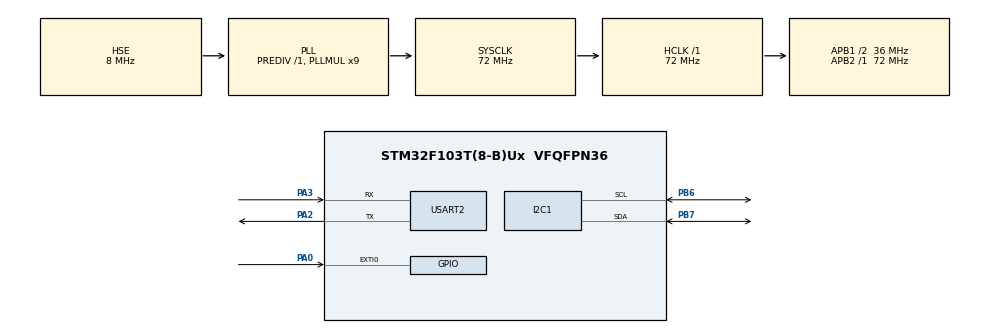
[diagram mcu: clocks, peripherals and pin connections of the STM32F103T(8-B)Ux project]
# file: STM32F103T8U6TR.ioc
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Mcu.Family=STM32F1
Mcu.Name=STM32F103T(8-B)Ux
Mcu.Package=VFQFPN36
NVIC.EXTI0_IRQn=true\:3\:0\:true\:false\:true\:true\:true\:true
NVIC.PriorityGroup=NVIC_PRIORITYGROUP_4
PA0-WKUP.Signal=GPXTI0
PA2.Mode=Asynchronous
PA2.Signal=USART2_TX
PA3.Mode=Asynchronous
PA3.Signal=USART2_RX
PB6.Mode=I2C
PB6.Signal=I2C1_SCL
PB7.Mode=I2C
PB7.Signal=I2C1_SDA
PD0-OSC_IN.Mode=HSE-External-Oscillator
PD0-OSC_IN.Signal=RCC_OSC_IN
PD1-OSC_OUT.Mode=HSE-External-Oscillator
PD1-OSC_OUT.Signal=RCC_OSC_OUT
ProjectManager.HeapSize=0x200
ProjectManager.StackSize=0x400
ProjectManager.TargetToolchain=MDK-ARM V5
RCC.AHBFreq_Value=72000000
RCC.APB1CLKDivider=RCC_HCLK_DIV2
RCC.APB1Freq_Value=36000000
RCC.APB1TimFreq_Value=72000000
RCC.APB2Freq_Value=72000000
RCC.APB2TimFreq_Value=72000000
RCC.HCLKFreq_Value=72000000
RCC.PLLMUL=RCC_PLL_MUL9
RCC.PLLSourceVirtual=RCC_PLLSOURCE_HSE
RCC.SYSCLKFreq_VALUE=72000000
RCC.SYSCLKSource=RCC_SYSCLKSOURCE_PLLCLK
RCC.USBFreq_Value=72000000
USART2.VirtualMode=VM_ASYNC
VP_SYS_VS_ND.Mode=No_Debug
board=custom

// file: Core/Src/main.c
/* USER CODE BEGIN Header */

/* USER CODE END Header */
#include "main.h"
#include "i2c.h"
#include "usart.h"
#include "gpio.h"

/* USER CODE BEGIN Includes */
#include "icm20602.h"
#include "tap_detection.h"
#include "ina226.h"
#include <math.h>
#include <stdio.h>
#include <string.h>

/* USER CODE END Includes */

/* USER CODE BEGIN PV */
char uartBuffer[256];
ICM20602_Data icm20602_Data;

/* USER CODE END PV */

void SystemClock_Config(void);
void EnterStopMode(void);
void Print_Accel(ICM20602_Data *data);
void Print_Power_Consumption(INA226_Data *data);

int main(void)
{

  /* USER CODE BEGIN 1 */
  static uint32_t lastDetectTime   = 0;
  static uint32_t lastSendTime     = 0;
  static uint32_t lastActivityTime = 0;

  lastActivityTime = HAL_GetTick();
  /* USER CODE END 1 */

  /* MCU Configuration--------------------------------------------------------*/

  /* Reset of all peripherals, Initializes the Flash interface and the Systick. */
  HAL_Init();

  /* Configure the system clock */
  SystemClock_Config();

  /* Initialize all configured peripherals */
  MX_GPIO_Init();
  MX_I2C1_Init();
  MX_USART2_UART_Init();
  /* USER CODE BEGIN 2 */
  if (ICM20602_Init(&hi2c1, ACCEL_RANGE_8G, GYRO_RANGE_1000DPS) != HAL_OK) {
    HAL_UART_Transmit(&huart2, (uint8_t*)"ICM20602 Init Failed!\r\n", 22, 100);
  } else {
    HAL_UART_Transmit(&huart2, (uint8_t*)"ICM20602 Ready (Tap/Swing Mode)\r\n", 34, 100);
  }
  /* USER CODE END 2 */

  /* Infinite loop */
  while (1)
  {

    /* USER CODE BEGIN 3 */
    uint32_t currTime = HAL_GetTick();

    // 读取ICM20602数据
    if (ICM20602_ReadData(&hi2c1, &icm20602_Data) == HAL_OK) {
      // 定时检测拍击
      if (currTime - lastDetectTime >= TAP_DETECT_INTERVAL) {
        lastDetectTime = currTime;
        DetectTap(&icm20602_Data);
      }

      // 定时发送传感器数据
      if (currTime - lastSendTime >= SEND_INTERVAL_MS) {
        lastSendTime = currTime;
        sprintf(uartBuffer,
                "Accel: X=%.2fg, Y=%.2fg, Z=%.2fg | "
                "Gyro: X=%.2frad/s, Y=%.2frad/s, Z=%.2frad/s | "
                "Temp: %.2f°C\r\n",
                icm20602_Data.accelX, icm20602_Data.accelY, icm20602_Data.accelZ,
                icm20602_Data.gyroX, icm20602_Data.gyroY, icm20602_Data.gyroZ,
                icm20602_Data.temp);
        HAL_UART_Transmit(&huart2, (uint8_t*)uartBuffer, strlen(uartBuffer), 100);
      }
    } else {
      HAL_UART_Transmit(&huart2, (uint8_t*)"ICM20602 Read Err\r\n", 19, 100);
    }

		if(GetMotionFlag()){
			ClearMotionFlag();
			lastActivityTime = currTime;
		}

		if(currTime - lastActivityTime > 5000){
			sprintf(uartBuffer, "No motion detected for 5 seconds, preparing to enter sleep mode...\r\n");
      HAL_UART_Transmit(&huart2, (uint8_t*)uartBuffer, strlen(uartBuffer), HAL_MAX_DELAY);
      lastActivityTime = HAL_GetTick(); // 避免唤醒后马上进入休眠

			EnterStopMode();
		}

    HAL_Delay(1);
  }

  /* USER CODE END 3 */
}

void SystemClock_Config(void)
{
  RCC_OscInitTypeDef RCC_OscInitStruct = {0};
  RCC_ClkInitTypeDef RCC_ClkInitStruct = {0};

  /** Initializes the RCC Oscillators according to the specified parameters
  * in the RCC_OscInitTypeDef structure.
  */
  RCC_OscInitStruct.OscillatorType = RCC_OSCILLATORTYPE_HSE;
  RCC_OscInitStruct.HSEState = RCC_HSE_ON;
  RCC_OscInitStruct.HSEPredivValue = RCC_HSE_PREDIV_DIV1;
  RCC_OscInitStruct.HSIState = RCC_HSI_ON;
  RCC_OscInitStruct.PLL.PLLState = RCC_PLL_ON;
  RCC_OscInitStruct.PLL.PLLSource = RCC_PLLSOURCE_HSE;
  RCC_OscInitStruct.PLL.PLLMUL = RCC_PLL_MUL9;
  if (HAL_RCC_OscConfig(&RCC_OscInitStruct) != HAL_OK)
  {
    Error_Handler();
  }

  /** Initializes the CPU, AHB and APB buses clocks
  */
  RCC_ClkInitStruct.ClockType = RCC_CLOCKTYPE_HCLK|RCC_CLOCKTYPE_SYSCLK
                              |RCC_CLOCKTYPE_PCLK1|RCC_CLOCKTYPE_PCLK2;
  RCC_ClkInitStruct.SYSCLKSource = RCC_SYSCLKSOURCE_PLLCLK;
  RCC_ClkInitStruct.AHBCLKDivider = RCC_SYSCLK_DIV1;
  RCC_ClkInitStruct.APB1CLKDivider = RCC_HCLK_DIV2;
  RCC_ClkInitStruct.APB2CLKDivider = RCC_HCLK_DIV1;

  if (HAL_RCC_ClockConfig(&RCC_ClkInitStruct, FLASH_LATENCY_2) != HAL_OK)
  {
    Error_Handler();
  }
}

/* USER CODE BEGIN 4 */
void HAL_GPIO_EXTI_Callback(uint16_t GPIO_Pin)
{
  if(GPIO_Pin == GPIO_PIN_0)  // MOTION_INT_PIN
  {
    sprintf(uartBuffer, "EXTI triggered!\r\n");
    HAL_UART_Transmit(&huart2, (uint8_t*)uartBuffer, strlen(uartBuffer), HAL_MAX_DELAY);
  }
}

void EnterStopMode(void){
	ICM20602_ENTER_LOW_POWER_MODE(&hi2c1, 0x20);
	sprintf(uartBuffer, "Enter Low Power Mode!\r\n");
	HAL_UART_Transmit(&huart2, (uint8_t*)uartBuffer, strlen(uartBuffer), 100);

	__HAL_RCC_I2C1_CLK_DISABLE();

	__disable_irq();

	HAL_SuspendTick();

	HAL_PWR_EnterSTOPMode(PWR_MAINREGULATOR_ON, PWR_STOPENTRY_WFI);
	//HAL_PWR_EnterSTANDBYMode();

	HAL_ResumeTick();

	SystemClock_Config();

	__enable_irq();

	__HAL_RCC_I2C1_CLK_ENABLE();

	ICM20602_EXIT_LOW_POWER_MODE(&hi2c1);
	sprintf(uartBuffer, "Exit Low Power Mode!\r\n");
	HAL_UART_Transmit(&huart2, (uint8_t*)uartBuffer, strlen(uartBuffer), 100);
}

/**
  * @brief  打印加速度
  */
void Print_Accel(ICM20602_Data *data)
{
  float raw_magnitude = sqrtf(
      data->accelX * data->accelX +
      data->accelY * data->accelY +
      data->accelZ * data->accelZ
  );

  sprintf(uartBuffer, "Raw:    [%6.3f, %6.3f, %6.3f] |Mag|: %.3f\r\n",
          data->accelX, data->accelY, data->accelZ, raw_magnitude);
  HAL_UART_Transmit(&huart2, (uint8_t*)uartBuffer, strlen(uartBuffer), 100);

  sprintf(uartBuffer, "========================================\r\n");
  HAL_UART_Transmit(&huart2, (uint8_t*)uartBuffer, strlen(uartBuffer), 100);
}

void Print_Power_Consumption(INA226_Data *data)
{
    sprintf(uartBuffer, "Current:          %.3f A\r\n"
                        "Shunt Voltage:    %.3f V\r\n"
                        "Bus Voltage:      %.3f V\r\n"
                        "Power Consumption: %.3f W\r\n"
                        "========================================\r\n",
            data->current,
            data->shunt_voltage,
            data->bus_voltage,
            data->power_consumption);

    HAL_UART_Transmit(&huart2, (uint8_t*)uartBuffer, strlen(uartBuffer), 100);
}

uint8_t ReadRegister(uint8_t reg, I2C_HandleTypeDef *hi2c) {
    uint8_t value = 0;
    if(HAL_I2C_Mem_Read(hi2c, ICM20602_ADDR, reg, I2C_MEMADD_SIZE_8BIT, &value, 1, 1000) != HAL_OK) {
        sprintf(uartBuffer, "Read reg 0x%02X failed!\r\n", reg);
        HAL_UART_Transmit(&huart2, (uint8_t*)uartBuffer, strlen(uartBuffer), HAL_MAX_DELAY);
    }
    return value;
}
/* USER CODE END 4 */

void Error_Handler(void)
{
  __disable_irq();
  while (1)
  {
  }
}
